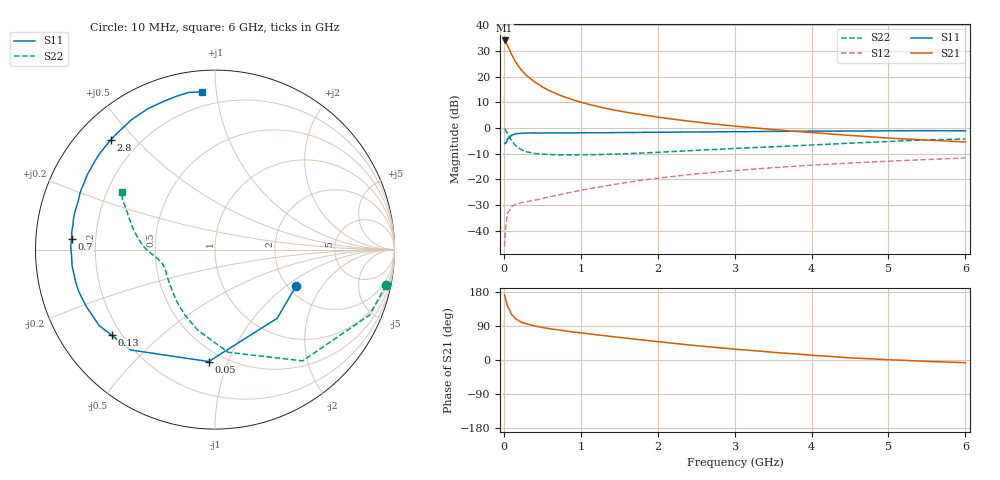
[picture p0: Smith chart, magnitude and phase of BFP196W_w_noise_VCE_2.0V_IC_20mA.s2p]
! Infineon Technologies  Discrete & RF Semiconductors
! BFP196W
! VCE =  2.0 V,  IC =  20 mA
! Common Emitter S-Parameters:  Jan 2017
# GHz  S  MA  R  50
!  f  S11  S21  S12  S22
! GHz  MAG  ANG  MAG  ANG  MAG  ANG  MAG  ANG
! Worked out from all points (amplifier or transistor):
!   77 points, 10 MHz to 6 GHz, reference 50 ohm
!   highest |S21| = 34.1 dB at 10 MHz (marker M1)
!   |S21| within 3 dB of that: start of sweep to 64.35 MHz
!   unconditionally stable (mu >= 1): 936.8 MHz to 3.386 GHz
!   at 130 MHz: K = 0.25, MSG = 28.6 dB, |S12| = -30.1 dB
!   at 2.2 GHz: K = 1.06, MAG = 9.6 dB, |S12| = -18.9 dB
!   at 6 GHz: K = 0.95, MSG = 3.1 dB, |S12| = -11.7 dB
!   lowest NFmin = 1.02 dB at 450 MHz
!   S11 on the Smith chart (normalised r, x): 10 MHz: 2.22, -1.18; 50 MHz: 0.42, -0.85; 130 MHz: 0.16, -0.35; 700 MHz: 0.11, +0.04; 2.8 GHz: 0.10, +0.43; 6 GHz: 0.12, +0.91
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0.01  0.4951 -23.9  50.66 171.6  0.005 82.0  0.9727 -11.8
0.02  0.5161 -47.8  48.91 162.0  0.0101 75.4  0.9357 -22.9
0.05  0.6248 -93.2  39.96 140.3  0.0219 54.2  0.789 -51.8
0.1  0.7303 -130.0  27.11 119.7  0.0296 39.2  0.5768 -82.7
0.13  0.7476 -140.3  22.55 114.3  0.0314 35.8  0.4993 -93.2
0.15  0.772 -146.8  19.66 109.3  0.0326 33.8  0.4595 -102.0
0.2  0.784 -156.1  15.2 102.7  0.0342 32.1  0.4011 -114.8
0.25  0.794 -162.6  12.35 98.1  0.0359 31.7  0.3651 -124.4
0.3  0.7973 -167.1  10.37 94.9  0.0369 32.4  0.343 -131.4
0.4  0.8013 -173.4  7.873 89.7  0.0393 34.5  0.3195 -141.3
0.5  0.8 -177.9  6.313 85.9  0.0423 38.0  0.3093 -147.7
0.6  0.8041 178.6  5.283 82.5  0.0463 40.4  0.3048 -152.3
0.7  0.8017 175.6  4.528 79.7  0.0491 42.8  0.3001 -155.7
0.9  0.8029 170.1  3.523 74.1  0.0572 47.1  0.3 -160.2
1.1  0.8083 165.6  2.904 69.2  0.0653 49.7  0.3021 -163.4
1.5  0.8152 157.3  2.146 59.7  0.0826 51.8  0.3127 -168.2
2.1  0.828 145.5  1.557 46.4  0.1095 51.4  0.342 -174.3
2.8  0.8436 133.5  1.167 32.3  0.1398 48.1  0.3867 179.2
3.1  0.8485 128.8  1.055 27.1  0.1525 46.1  0.4063 176.0
4.1  0.8695 114.3  0.795 11.3  0.1925 39.1  0.4743 165.0
5.1  0.8819 103.2  0.625 -0.1  0.2291 31.7  0.5546 154.4
6  0.8818 94.8  0.535 -7.2  0.2606 24.9  0.6106 148.3
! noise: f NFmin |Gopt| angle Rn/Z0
0.45  1.02  0.4  170  0.05
0.9  1.2  0.51  178  0.05
1.9  2.11  0.69  -155  0.11
2.4  2.55  0.74  -147  0.2
